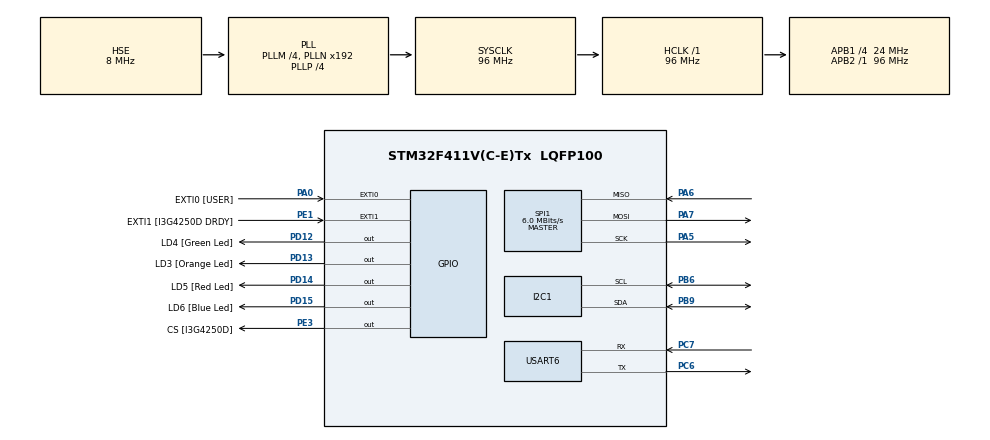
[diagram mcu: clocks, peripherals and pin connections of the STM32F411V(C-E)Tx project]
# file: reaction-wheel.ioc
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I2C1.OwnAddress=0x19
Mcu.Family=STM32F4
Mcu.Name=STM32F411V(C-E)Tx
Mcu.Package=LQFP100
NVIC.EXTI0_IRQn=true\:0\:0\:false\:false\:true\:true\:true\:true
NVIC.PriorityGroup=NVIC_PRIORITYGROUP_4
PA0-WKUP.GPIO_Label=EXTI0 [USER]
PA0-WKUP.GPIO_ModeDefaultEXTI=GPIO_MODE_IT_RISING_FALLING
PA0-WKUP.GPIO_PuPd=GPIO_NOPULL
PA0-WKUP.Signal=GPXTI0
PA13.GPIO_Label=SWDIO
PA13.Mode=Serial_Wire
PA13.Signal=SYS_JTMS-SWDIO
PA14.GPIO_Label=SWCLK
PA14.Mode=Serial_Wire
PA14.Signal=SYS_JTCK-SWCLK
PA5.Mode=Full_Duplex_Master
PA5.Signal=SPI1_SCK
PA6.Mode=Full_Duplex_Master
PA6.Signal=SPI1_MISO
PA7.Mode=Full_Duplex_Master
PA7.Signal=SPI1_MOSI
PB3.GPIO_Label=SWO
PB3.Signal=SYS_JTDO-SWO
PB6.Mode=I2C
PB6.Signal=I2C1_SCL
PB9.Mode=I2C
PB9.Signal=I2C1_SDA
PC14-OSC32_IN.GPIO_Label=PC14-OSC32_IN
PC14-OSC32_IN.Mode=LSE-External-Oscillator
PC14-OSC32_IN.Signal=RCC_OSC32_IN
PC15-OSC32_OUT.GPIO_Label=PC15-OSC32_OUT
PC15-OSC32_OUT.Mode=LSE-External-Oscillator
PC15-OSC32_OUT.Signal=RCC_OSC32_OUT
PC6.Mode=Asynchronous
PC6.Signal=USART6_TX
PC7.Mode=Asynchronous
PC7.Signal=USART6_RX
PD12.GPIO_Label=LD4 [Green Led]
PD12.GPIO_PuPd=GPIO_NOPULL
PD12.GPIO_Speed=GPIO_SPEED_FREQ_LOW
PD12.Signal=GPIO_Output
PD13.GPIO_Label=LD3 [Orange Led]
PD13.GPIO_PuPd=GPIO_NOPULL
PD13.GPIO_Speed=GPIO_SPEED_FREQ_LOW
PD13.Signal=GPIO_Output
PD14.GPIO_Label=LD5 [Red Led]
PD14.GPIO_PuPd=GPIO_NOPULL
PD14.GPIO_Speed=GPIO_SPEED_FREQ_LOW
PD14.Signal=GPIO_Output
PD15.GPIO_Label=LD6 [Blue Led]
PD15.GPIO_PuPd=GPIO_NOPULL
PD15.GPIO_Speed=GPIO_SPEED_FREQ_LOW
PD15.Signal=GPIO_Output
PE1.GPIO_Label=EXTI1 [I3G4250D DRDY]
PE1.Signal=GPXTI1
PE3.GPIO_Label=CS [I3G4250D]
PE3.Signal=GPIO_Output
PH0\ -\ OSC_IN.GPIO_Label=PH0-OSC_IN
PH0\ -\ OSC_IN.Mode=HSE-External-Oscillator
PH0\ -\ OSC_IN.Signal=RCC_OSC_IN
PH1\ -\ OSC_OUT.GPIO_Label=PH1-OSC_OUT
PH1\ -\ OSC_OUT.Mode=HSE-External-Oscillator
PH1\ -\ OSC_OUT.Signal=RCC_OSC_OUT
ProjectManager.HeapSize=0x200
ProjectManager.StackSize=0x400
ProjectManager.TargetToolchain=STM32CubeIDE
RCC.48MHZClocksFreq_Value=48000000
RCC.AHBFreq_Value=96000000
RCC.APB1CLKDivider=RCC_HCLK_DIV4
RCC.APB1Freq_Value=24000000
RCC.APB1TimFreq_Value=48000000
RCC.APB2Freq_Value=96000000
RCC.APB2TimFreq_Value=96000000
RCC.CortexFreq_Value=96000000
RCC.HCLKFreq_Value=96000000
RCC.HSE_VALUE=8000000
RCC.HSI_VALUE=16000000
RCC.PLLI2SM=5
RCC.PLLI2SN=200
RCC.PLLM=4
RCC.PLLP=RCC_PLLP_DIV4
RCC.PLLQ=8
RCC.PLLSourceVirtual=RCC_PLLSOURCE_HSE
RCC.SYSCLKFreq_VALUE=96000000
RCC.SYSCLKSource=RCC_SYSCLKSOURCE_PLLCLK
RCC.VCOOutputFreq_Value=384000000
SPI1.BaudRatePrescaler=SPI_BAUDRATEPRESCALER_16
SPI1.CLKPolarity=SPI_POLARITY_LOW
SPI1.CalculateBaudRate=6.0 MBits/s
SPI1.Direction=SPI_DIRECTION_2LINES
SPI1.Mode=SPI_MODE_MASTER
SPI1.VirtualType=VM_MASTER
TIM5.Prescaler=TIM5_PRESCALER - 1
USART6.VirtualMode=VM_ASYNC
VP_TIM5_VS_ClockSourceINT.Mode=Internal
board=STM32F411E-DISCO

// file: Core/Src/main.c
/* USER CODE BEGIN Header */
/**
  ******************************************************************************
  * @file           : main.c
  * @brief          : Main program body
  ******************************************************************************
  * @attention
  *
  * Copyright (c) 2022 STMicroelectronics.
  * All rights reserved.
  *
  * This software is licensed under terms that can be found in the LICENSE file
  * in the root directory of this software component.
  * If no LICENSE file comes with this software, it is provided AS-IS.
  *
  ******************************************************************************
  */
/* USER CODE END Header */
#include "main.h"
#include "i2c.h"
#include "spi.h"
#include "tim.h"
#include "usart.h"
#include "gpio.h"

/* USER CODE BEGIN PD */
typedef enum {
	INIT,
	IDLE,
	BTN,
	PRINT
} program_mode_t;
/* USER CODE END PD */

/* USER CODE BEGIN PV */
//stmdev_ctx_t mag_ctx;
stmdev_ctx_t gyro_ctx;
program_mode_t program_mode = INIT;
uint32_t program_mode_time;
uint32_t button_time;

/* USER CODE END PV */

void SystemClock_Config(void);

/* USER CODE BEGIN 0 */

// overwrite _write so that printf sends to SWO
int _write(int file, char* ptr, int len)
{
	for (int i = 0; i < len; i++)
	{
		ITM_SendChar(ptr[i]);
	}
	return len;
}

#define PRINT_MAX_BUFF 144 // can't send more than this at 100Hz for 115200 baud

// send printf-style arguments to UART 6
int print_uart(const char* fmt, ...)
{
	char buf[PRINT_MAX_BUFF];
	int status;
	va_list ap;

	// pass variable number of arguments using va_list function
	// see the end of [man printf]
	va_start(ap, fmt);
	status = vsnprintf(buf, PRINT_MAX_BUFF, fmt, ap);
	va_end(ap);

	if (status >= PRINT_MAX_BUFF || status < 0)
	{
		return -1;
	}

	status = (int) HAL_UART_Transmit(&huart6, (const uint8_t*) buf, (uint16_t) (status + 1), 15);
	return status;
}

uint16_t idle_led = LED_ORANGE;
uint16_t btn_led = LED_GREEN;
uint16_t print_led = LED_BLUE;

int32_t flash_led(void* self)
{
	bad_task_t* bt = (bad_task_t*) self;

	HAL_GPIO_TogglePin(LED_BANK, *( (uint16_t*) (bt->data) ));

	return 0;
}

int32_t print_gyro(void* self)
{
	int32_t status;
	uint32_t time;
	vector3_t rate;

	status = get_angular_rate(&gyro_ctx, &rate);
	time = __HAL_TIM_GET_COUNTER(&htim5);

	if (status)
	{
		printf("#RED#Failed reading gyro\n");
		return status;
	}

	status = print_uart("%3.3f\t%+3.3f\t%+3.3f\t%+3.3f\r\n",
			(float_t) time / 1e6, rate.x, rate.y, rate.z);
	if (status)
	{
		printf("#RED#Failed sending UART: %ld\n", status);
	}

	return status;
}

bad_task_t idle_tasks[] = {
	{.task = flash_led, .data = &idle_led, .timer = &htim5, .period = 250*1000U, .last = 0U}
};

bad_task_t btn_tasks[] = {
	{.task = flash_led, .data = &btn_led, .timer = &htim5, .period = 250*1000U, .last = 0U}
};

bad_task_t print_tasks[] = {
	{.task = flash_led, .data = &print_led, .timer = &htim5, .period = 500*1000U, .last = 0U},
	{.task = print_gyro, .data = NULL, .timer = &htim5, .period = 10*1000U, .last = 0U},
};
/* USER CODE END 0 */

int main(void)
{

  /* MCU Configuration--------------------------------------------------------*/

  /* Reset of all peripherals, Initializes the Flash interface and the Systick. */
  HAL_Init();

  /* USER CODE BEGIN Init */
  program_mode = IDLE;
  /* USER CODE END Init */

  /* Configure the system clock */
  SystemClock_Config();

  /* Initialize all configured peripherals */
  MX_GPIO_Init();
  MX_SPI1_Init();
  MX_I2C1_Init();
  MX_TIM5_Init();
  MX_USART6_UART_Init();
  /* USER CODE BEGIN 2 */

  init_gyro(&gyro_ctx, &hspi1);
  HAL_TIM_Base_Start(&htim5);
  printf("Initalized gyroscope\nTesting debugging statements\n");

  /* USER CODE END 2 */

  /* Infinite loop */
  while (1)
  {

    /* USER CODE BEGIN 3 */
	  switch(program_mode)
	  {
			case(INIT):
			case(IDLE):
			  RUN_TASKS(idle_tasks);
				  break;
			case(BTN):
			  RUN_TASKS(btn_tasks);
				  break;
			case(PRINT):
			  RUN_TASKS(print_tasks);
				  break;
	  }
  }
  /* USER CODE END 3 */
}

void SystemClock_Config(void)
{
  RCC_OscInitTypeDef RCC_OscInitStruct = {0};
  RCC_ClkInitTypeDef RCC_ClkInitStruct = {0};

  /** Configure the main internal regulator output voltage
  */
  __HAL_RCC_PWR_CLK_ENABLE();
  __HAL_PWR_VOLTAGESCALING_CONFIG(PWR_REGULATOR_VOLTAGE_SCALE1);

  /** Initializes the RCC Oscillators according to the specified parameters
  * in the RCC_OscInitTypeDef structure.
  */
  RCC_OscInitStruct.OscillatorType = RCC_OSCILLATORTYPE_HSE;
  RCC_OscInitStruct.HSEState = RCC_HSE_ON;
  RCC_OscInitStruct.PLL.PLLState = RCC_PLL_ON;
  RCC_OscInitStruct.PLL.PLLSource = RCC_PLLSOURCE_HSE;
  RCC_OscInitStruct.PLL.PLLM = 4;
  RCC_OscInitStruct.PLL.PLLN = 192;
  RCC_OscInitStruct.PLL.PLLP = RCC_PLLP_DIV4;
  RCC_OscInitStruct.PLL.PLLQ = 8;
  if (HAL_RCC_OscConfig(&RCC_OscInitStruct) != HAL_OK)
  {
    Error_Handler();
  }

  /** Initializes the CPU, AHB and APB buses clocks
  */
  RCC_ClkInitStruct.ClockType = RCC_CLOCKTYPE_HCLK|RCC_CLOCKTYPE_SYSCLK
                              |RCC_CLOCKTYPE_PCLK1|RCC_CLOCKTYPE_PCLK2;
  RCC_ClkInitStruct.SYSCLKSource = RCC_SYSCLKSOURCE_PLLCLK;
  RCC_ClkInitStruct.AHBCLKDivider = RCC_SYSCLK_DIV1;
  RCC_ClkInitStruct.APB1CLKDivider = RCC_HCLK_DIV4;
  RCC_ClkInitStruct.APB2CLKDivider = RCC_HCLK_DIV1;

  if (HAL_RCC_ClockConfig(&RCC_ClkInitStruct, FLASH_LATENCY_3) != HAL_OK)
  {
    Error_Handler();
  }
}

/* USER CODE BEGIN 4 */
void handle_button(void)
{
	uint32_t cur = __HAL_TIM_GET_COUNTER(&htim5);
	GPIO_PinState button_state = HAL_GPIO_ReadPin(GPIOA, GPIO_PIN_0);
	if (button_state == GPIO_PIN_SET && program_mode == IDLE)
	{
		program_mode = BTN;
		button_time = cur;
		program_mode_time = cur;
	}
	else if (button_state == GPIO_PIN_RESET && program_mode == BTN)
	{
		uint32_t elapsed = cur - button_time;
		uint32_t sec = 1000000;
		if (elapsed > 1 * sec)
		{
			program_mode = PRINT;
			program_mode_time = cur;
		}
		else
		{
			program_mode = IDLE;
			program_mode_time = cur;
		}
	}
}

void HAL_GPIO_EXTI_Callback(uint16_t GPIO_Pin)
{
//	printf("EXTI %u\n", GPIO_Pin);
	switch(GPIO_Pin)
	{
		case(1):
			handle_button();
			break;
		default:
			printf("# Pin %u ISR not defined\n", GPIO_Pin);
			break;
	}
}
/* USER CODE END 4 */

void Error_Handler(void)
{
  __disable_irq();
  while (1)
  {
  }
}
